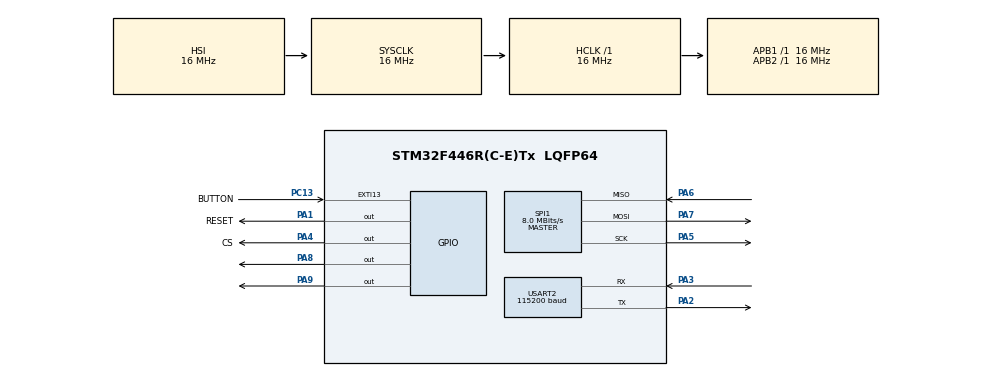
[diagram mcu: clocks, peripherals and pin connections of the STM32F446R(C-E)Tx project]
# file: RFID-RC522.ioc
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Dma.Request0=USART2_TX
Dma.USART2_TX.0.Direction=DMA_MEMORY_TO_PERIPH
Dma.USART2_TX.0.FIFOMode=DMA_FIFOMODE_DISABLE
Dma.USART2_TX.0.Instance=DMA1_Stream6
Dma.USART2_TX.0.MemDataAlignment=DMA_MDATAALIGN_BYTE
Dma.USART2_TX.0.MemInc=DMA_MINC_ENABLE
Dma.USART2_TX.0.Mode=DMA_NORMAL
Dma.USART2_TX.0.PeriphDataAlignment=DMA_PDATAALIGN_BYTE
Dma.USART2_TX.0.PeriphInc=DMA_PINC_DISABLE
Dma.USART2_TX.0.Priority=DMA_PRIORITY_LOW
Mcu.Family=STM32F4
Mcu.Name=STM32F446R(C-E)Tx
Mcu.Package=LQFP64
NVIC.DMA1_Stream6_IRQn=true\:0\:0\:false\:false\:true\:false\:true
NVIC.EXTI15_10_IRQn=true\:0\:0\:false\:false\:true\:true\:true
NVIC.PriorityGroup=NVIC_PRIORITYGROUP_4
NVIC.USART2_IRQn=true\:0\:0\:false\:false\:true\:true\:true
PA1.GPIO_Label=RESET
PA1.Signal=GPIO_Output
PA2.Mode=Asynchronous
PA2.Signal=USART2_TX
PA3.Mode=Asynchronous
PA3.Signal=USART2_RX
PA4.GPIO_Label=CS
PA4.Signal=GPIO_Output
PA5.Mode=Full_Duplex_Master
PA5.Signal=SPI1_SCK
PA6.Mode=Full_Duplex_Master
PA6.Signal=SPI1_MISO
PA7.Mode=Full_Duplex_Master
PA7.Signal=SPI1_MOSI
PA8.Signal=GPIO_Output
PA9.Signal=GPIO_Output
PC13.GPIO_Label=BUTTON
PC13.GPIO_ModeDefaultEXTI=GPIO_MODE_IT_FALLING
PC13.GPIO_PuPd=GPIO_PULLUP
PC13.Signal=GPXTI13
ProjectManager.HeapSize=0x200
ProjectManager.StackSize=0x400
ProjectManager.TargetToolchain=STM32CubeIDE
RCC.AHBFreq_Value=16000000
RCC.APB1Freq_Value=16000000
RCC.APB1TimFreq_Value=16000000
RCC.APB2Freq_Value=16000000
RCC.APB2TimFreq_Value=16000000
RCC.CortexFreq_Value=16000000
RCC.HCLKFreq_Value=16000000
RCC.PLLM=8
RCC.PLLN=50
RCC.SYSCLKFreq_VALUE=16000000
RCC.USBFreq_Value=50000000
RCC.VCOOutputFreq_Value=100000000
SPI1.BaudRatePrescaler=SPI_BAUDRATEPRESCALER_2
SPI1.CalculateBaudRate=8.0 MBits/s
SPI1.Direction=SPI_DIRECTION_2LINES
SPI1.Mode=SPI_MODE_MASTER
SPI1.VirtualType=VM_MASTER
USART2.BaudRate=115200
USART2.VirtualMode=VM_ASYNC
board=custom

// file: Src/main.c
/* USER CODE BEGIN Header */
/**
  ******************************************************************************
  * @file           : main.c
  * @brief          : Main program body
  ******************************************************************************
  * @attention
  *
  * <h2><center>&copy; Copyright (c) 2026 STMicroelectronics.
  * All rights reserved.</center></h2>
  *
  * This software component is licensed by ST under BSD 3-Clause license,
  * the "License"; You may not use this file except in compliance with the
  * License. You may obtain a copy of the License at:
  *                        opensource.org/licenses/BSD-3-Clause
  *
  ******************************************************************************
  */
/* USER CODE END Header */

#include "main.h"
/* USER CODE BEGIN Includes */
#include "MFRC522_STM32.h"
#include "RFID.h"
/* USER CODE END Includes */

SPI_HandleTypeDef hspi1;
UART_HandleTypeDef huart2;
DMA_HandleTypeDef hdma_usart2_tx;

void SystemClock_Config(void);
static void MX_GPIO_Init(void);
static void MX_SPI1_Init(void);
static void MX_USART2_UART_Init(void);
static void MX_DMA_Init(void);

/* USER CODE BEGIN 0 */

int _write(int fd, unsigned char *buf, int len) {
  if (fd == 1 || fd == 2) {                     // stdout or stderr ?
    HAL_UART_Transmit(&huart2, buf, len, 999);  // Print to the UART
  }
  return len;
}

MFRC522_t rfID = {&hspi1, CS_GPIO_Port, CS_Pin, RESET_GPIO_Port, RESET_Pin};
uint8_t uid[5]; // 4-byte UID + 1-byte BCC
uint8_t atqa_global[2];
uint8_t MENU = UID_ONLY;

/* USER CODE END 0 */

int main(void)
{

  /* MCU Configuration--------------------------------------------------------*/

  /* Reset of all peripherals, Initializes the Flash interface and the Systick. */
  HAL_Init();

  /* Configure the system clock */
  SystemClock_Config();

  /* Initialize all configured peripherals */
  MX_GPIO_Init();
  MX_SPI1_Init();
  MX_USART2_UART_Init();
  MX_DMA_Init();
  /* USER CODE BEGIN 2 */
  MFRC522_Init(&rfID);
  /* USER CODE END 2 */
  USER_LOG("Mode: UID_ONLY");
  USER_LOG("Press blue button for more actions.");

  /* Infinite loop */
  while (1)
  {

    /* USER CODE BEGIN 3 */
	  USER_LOG("Waiting for the card...");

	  while (RFID_Detect(&rfID) != STATUS_OK)
	  {
		  HAL_Delay(100); // Polling for every 100ms until any TAG detected
	  }

	  USER_LOG("Card detected");

	  if (RFID_UID_Read(&rfID, uid, &MENU) == STATUS_OK)
	  {
		  if (MENU != UID_ONLY)
		  {
			  if (MENU == FULL_READ)
			  {
				 RFID_FullRead(&rfID, uid);
			  }

			  else if (MENU == FULL_ERASE)
			  {
				  RFID_FullErase(&rfID, uid);
			  }

			  // READ BLOCK-X
			  else if (MENU % 2 == 1)
			  {
				  RFID_ReadBlock(&rfID, uid, MENU);
			  }

			  // WRITE BLOCK-X with increasing numbers
			  else if (MENU % 2 == 0)
			  {
				  RFID_WriteBlock(&rfID, uid, MENU);
			  }

			  else
			  {
				  USER_LOG("UNKNOWN STATE...");
			  }
		  }
	  }

	  USER_LOG("Waiting for card removal...");

	  while (RFID_Remove(&rfID) != STATUS_OK)
	  {
		  HAL_Delay(100); // Polling for every 100ms until each TAG removed
	  }

	  USER_LOG("Card removed");
  }
  /* USER CODE END 3 */
}

void SystemClock_Config(void)
{
  RCC_OscInitTypeDef RCC_OscInitStruct = {0};
  RCC_ClkInitTypeDef RCC_ClkInitStruct = {0};

  /** Configure the main internal regulator output voltage
  */
  __HAL_RCC_PWR_CLK_ENABLE();
  __HAL_PWR_VOLTAGESCALING_CONFIG(PWR_REGULATOR_VOLTAGE_SCALE3);
  /** Initializes the CPU, AHB and APB busses clocks
  */
  RCC_OscInitStruct.OscillatorType = RCC_OSCILLATORTYPE_HSI;
  RCC_OscInitStruct.HSIState = RCC_HSI_ON;
  RCC_OscInitStruct.HSICalibrationValue = RCC_HSICALIBRATION_DEFAULT;
  RCC_OscInitStruct.PLL.PLLState = RCC_PLL_NONE;
  if (HAL_RCC_OscConfig(&RCC_OscInitStruct) != HAL_OK)
  {
    Error_Handler();
  }
  /** Initializes the CPU, AHB and APB busses clocks
  */
  RCC_ClkInitStruct.ClockType = RCC_CLOCKTYPE_HCLK|RCC_CLOCKTYPE_SYSCLK
                              |RCC_CLOCKTYPE_PCLK1|RCC_CLOCKTYPE_PCLK2;
  RCC_ClkInitStruct.SYSCLKSource = RCC_SYSCLKSOURCE_HSI;
  RCC_ClkInitStruct.AHBCLKDivider = RCC_SYSCLK_DIV1;
  RCC_ClkInitStruct.APB1CLKDivider = RCC_HCLK_DIV1;
  RCC_ClkInitStruct.APB2CLKDivider = RCC_HCLK_DIV1;

  if (HAL_RCC_ClockConfig(&RCC_ClkInitStruct, FLASH_LATENCY_0) != HAL_OK)
  {
    Error_Handler();
  }
}

static void MX_SPI1_Init(void)
{

  /* SPI1 parameter configuration*/
  hspi1.Instance = SPI1;
  hspi1.Init.Mode = SPI_MODE_MASTER;
  hspi1.Init.Direction = SPI_DIRECTION_2LINES;
  hspi1.Init.DataSize = SPI_DATASIZE_8BIT;
  hspi1.Init.CLKPolarity = SPI_POLARITY_LOW;
  hspi1.Init.CLKPhase = SPI_PHASE_1EDGE;
  hspi1.Init.NSS = SPI_NSS_SOFT;
  hspi1.Init.BaudRatePrescaler = SPI_BAUDRATEPRESCALER_2;
  hspi1.Init.FirstBit = SPI_FIRSTBIT_MSB;
  hspi1.Init.TIMode = SPI_TIMODE_DISABLE;
  hspi1.Init.CRCCalculation = SPI_CRCCALCULATION_DISABLE;
  hspi1.Init.CRCPolynomial = 10;
  if (HAL_SPI_Init(&hspi1) != HAL_OK)
  {
    Error_Handler();
  }

}

static void MX_USART2_UART_Init(void)
{

  huart2.Instance = USART2;
  huart2.Init.BaudRate = 115200;
  huart2.Init.WordLength = UART_WORDLENGTH_8B;
  huart2.Init.StopBits = UART_STOPBITS_1;
  huart2.Init.Parity = UART_PARITY_NONE;
  huart2.Init.Mode = UART_MODE_TX_RX;
  huart2.Init.HwFlowCtl = UART_HWCONTROL_NONE;
  huart2.Init.OverSampling = UART_OVERSAMPLING_16;
  if (HAL_UART_Init(&huart2) != HAL_OK)
  {
    Error_Handler();
  }

}

static void MX_DMA_Init(void)
{

  /* DMA controller clock enable */
  __HAL_RCC_DMA1_CLK_ENABLE();

  /* DMA interrupt init */
  /* DMA1_Stream6_IRQn interrupt configuration */
  HAL_NVIC_SetPriority(DMA1_Stream6_IRQn, 0, 0);
  HAL_NVIC_EnableIRQ(DMA1_Stream6_IRQn);

}

static void MX_GPIO_Init(void)
{
  GPIO_InitTypeDef GPIO_InitStruct = {0};

  /* GPIO Ports Clock Enable */
  __HAL_RCC_GPIOC_CLK_ENABLE();
  __HAL_RCC_GPIOA_CLK_ENABLE();

  /*Configure GPIO pin Output Level */
  HAL_GPIO_WritePin(GPIOA, RESET_Pin|CS_Pin|GPIO_PIN_8|GPIO_PIN_9, GPIO_PIN_RESET);

  /*Configure GPIO pin : BUTTON_Pin */
  GPIO_InitStruct.Pin = BUTTON_Pin;
  GPIO_InitStruct.Mode = GPIO_MODE_IT_FALLING;
  GPIO_InitStruct.Pull = GPIO_PULLUP;
  HAL_GPIO_Init(BUTTON_GPIO_Port, &GPIO_InitStruct);

  /*Configure GPIO pins : RESET_Pin CS_Pin PA8 PA9 */
  GPIO_InitStruct.Pin = RESET_Pin|CS_Pin|GPIO_PIN_8|GPIO_PIN_9;
  GPIO_InitStruct.Mode = GPIO_MODE_OUTPUT_PP;
  GPIO_InitStruct.Pull = GPIO_NOPULL;
  GPIO_InitStruct.Speed = GPIO_SPEED_FREQ_LOW;
  HAL_GPIO_Init(GPIOA, &GPIO_InitStruct);

  /* EXTI interrupt init*/
  HAL_NVIC_SetPriority(EXTI15_10_IRQn, 0, 0);
  HAL_NVIC_EnableIRQ(EXTI15_10_IRQn);

}

/* USER CODE BEGIN 4 */
void HAL_GPIO_EXTI_Callback(uint16_t GPIO_Pin)
{
	MENU++;

	if (MENU > 128){
		MENU = 0;
	}

	switch (MENU)
	{
		case (0):
			USER_LOG("Mode: UID_ONLY");
			break;

		case (1):
			USER_LOG("Mode: FULL_READ");
			break;

		case (2):
			USER_LOG("Mode: FULL_ERASE");
			break;

		default:

			if (MENU%2==1){
				USER_LOG("Mode: READ_BLOCK_%d",(uint8_t)((MENU-1)/2));
			}
			else{
				USER_LOG("Mode: WRITE_BLOCK_%d",(uint8_t)((MENU-1)/2));
			}
	}

}
/* USER CODE END 4 */

void Error_Handler(void)
{
	__disable_irq();
	while (1)
	{
	}
}

/************************ (C) COPYRIGHT STMicroelectronics *****END OF FILE****/
